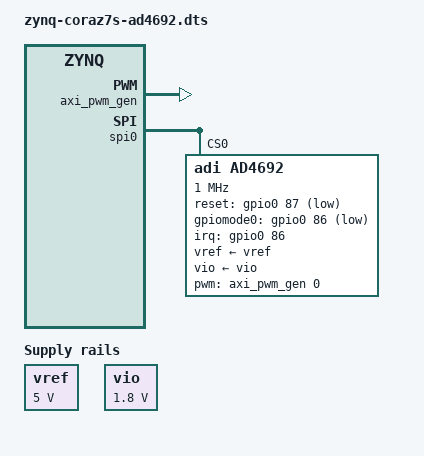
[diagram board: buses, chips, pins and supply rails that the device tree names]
// SPDX-License-Identifier: GPL-2.0
/*
 * Analog Devices AD4692
 * https://www.analog.com/en/products/ad4692.html
 *
 * Copyright (C) 2024 Analog Devices Inc.
 */
/dts-v1/;
#include "zynq-coraz7s.dtsi"
#include <dt-bindings/interrupt-controller/irq.h>
#include <dt-bindings/gpio/gpio.h>
#include <dt-bindings/pwm/pwm.h>

/ {

	vref: regulator-vref {
		compatible = "regulator-fixed";
		regulator-name = "fixed-supply";
		regulator-min-microvolt = <5000000>;
		regulator-max-microvolt = <5000000>;
		regulator-always-on;
	};

	vio: regulator-vio {
		compatible = "regulator-fixed";
		regulator-name = "fixed-supply";
		regulator-min-microvolt = <1800000>;
		regulator-max-microvolt = <1800000>;
		regulator-always-on;
	};
};

&fpga_axi {
	ref_clk: axi-clkgen@0x44a70000 {
		compatible = "adi,axi-clkgen-2.00.a";
		reg = <0x44a70000 0x10000>;
		#clock-cells = <0>;
		clocks = <&clkc 15>, <&clkc 15>;
		clock-names = "s_axi_aclk", "clkin1";
		clock-output-names = "ref_clk";
	};

	axi_pwm_gen: pwm@0x44b00000 {
		compatible = "adi,axi-pwmgen";
		reg = <0x44b00000 0x1000>;
		label = "adc_conversion_trigger";
		#pwm-cells = <2>;
		clocks = <&ref_clk>;
	};
};

&spi0 {
	status = "okay";
	#address-cells = <1>;
	#size-cells = <0>;

	ad4692@0 {
		compatible = "adi,ad4692";
		reg = <0>;

		spi-max-frequency = <1000000>;
		vref-supply = <&vref>;
		vio-supply = <&vio>;

		reset-gpios = <&gpio0 87 GPIO_ACTIVE_LOW>;
		gpiomode0-gpios = <&gpio0 86 GPIO_ACTIVE_LOW>;

		clocks = <&ref_clk>;
		pwms = <&axi_pwm_gen 0 0>;
		pwm-names = "cnv";

		interrupt-parent = <&gpio0>;
		interrupts = <86 IRQ_TYPE_EDGE_FALLING>;
		interrupt-names = "DRDY";

		adi,spi-mode = <2>;
	};
};
